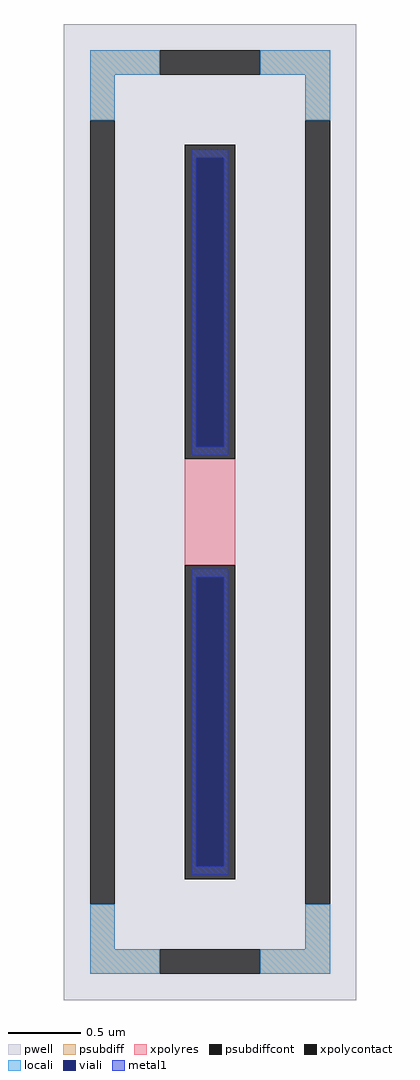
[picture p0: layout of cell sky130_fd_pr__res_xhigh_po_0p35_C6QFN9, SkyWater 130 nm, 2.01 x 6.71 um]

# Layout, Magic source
magic
tech sky130A
magscale 1 2
<< pwell >>
rect -201 -671 201 671
<< psubdiff >>
rect -165 601 -69 635
rect 69 601 165 635
rect -165 539 -131 601
rect 131 539 165 601
rect -165 -601 -131 -539
rect 131 -601 165 -539
rect -165 -635 -69 -601
rect 69 -635 165 -601
<< psubdiffcont >>
rect -69 601 69 635
rect -165 -539 -131 539
rect 131 -539 165 539
rect -69 -635 69 -601
<< xpolycontact >>
rect -35 73 35 505
rect -35 -505 35 -73
<< xpolyres >>
rect -35 -73 35 73
<< locali >>
rect -165 601 -69 635
rect 69 601 165 635
rect -165 539 -131 601
rect 131 539 165 601
rect -165 -601 -131 -539
rect 131 -601 165 -539
rect -165 -635 -69 -601
rect 69 -635 165 -601
<< viali >>
rect -19 90 19 487
rect -19 -487 19 -90
<< metal1 >>
rect -25 487 25 499
rect -25 90 -19 487
rect 19 90 25 487
rect -25 78 25 90
rect -25 -90 25 -78
rect -25 -487 -19 -90
rect 19 -487 25 -90
rect -25 -499 25 -487
<< properties >>
string FIXED_BBOX -148 -618 148 618
string gencell sky130_fd_pr__res_xhigh_po_0p35
string library sky130
string parameters w 0.350 l 0.889 m 1 nx 1 wmin 0.350 lmin 0.50 rho 2000 val 6.155k dummy 0 dw 0.0 term 188.2 sterm 0.0 caplen 0 wmax 0.350 guard 1 glc 1 grc 1 gtc 1 gbc 1 compatible {sky130_fd_pr__res_xhigh_po_0p35  sky130_fd_pr__res_xhigh_po_0p69 sky130_fd_pr__res_xhigh_po_1p41  sky130_fd_pr__res_xhigh_po_2p85 sky130_fd_pr__res_xhigh_po_5p73} snake 0 full_metal 1 n_guard 0 hv_guard 0 vias 1 viagb 0 viagt 0 viagl 0 viagr 0
<< end >>
